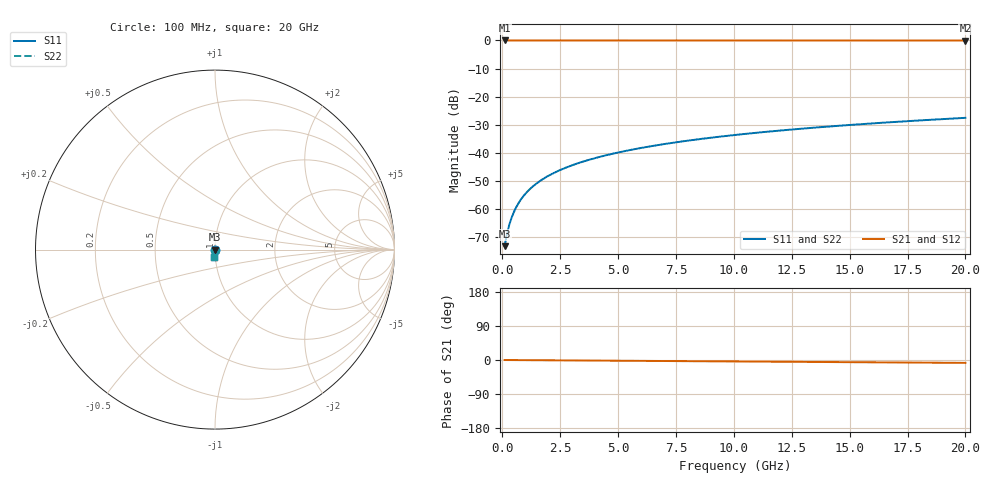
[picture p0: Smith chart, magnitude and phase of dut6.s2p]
! Touchstone file exported from HFSS 2026.1.0
!  File:  C:/ffzhzh/LocalFiles/Ansys_Project_Files/temp_train_TSV_6_1782957870_45748.aedt
!  Generated:  10:05:53 AM Jul  2, 2026
!  Design:  TSV
!  Project:  temp_train_TSV_6_1782957870_45748
! Variables:
!  h_bsmrdl = 2um
!  h_ox = 20um
!  h_rdl = 5um
!  h_sub = 76.67um
!  h_tmrdl = 5um
!  h_tsv = 76.67um
!  h_via = 3um
!  l_bsmrdl = 300um
!  l_sub = 418.04um
!  l_tmrdl = 200um
!  m_sub = 200um
!  pitch = 27.24um
!  r_tsv = 9.02um
!  s_tmrdl = 10um
!  w_bsmrdl = 18um
!  w_sub = 500um
!  w_tmrdl = 12um
!  x_tsv_center1 = 206um
!  x_tsv_center2 = 524um
!  x_tsv_center3 = 736um
!  x_tsv_center4 = 1054um
!  x_tsv_center5 = 1266um
!  x_tsv_center6 = 1584um
# GHz S MA R 50.000000
! Terminal data exported
! Port[1] = TSV1_1_T1
! Port[2] = TSV1_1_T2
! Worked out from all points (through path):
!   200 points, 100 MHz to 20 GHz, reference 50 ohm
!   highest |S21| = 0.00 dB at 100 MHz (marker M1); lowest = 0.0 dB at 20 GHz (marker M2)
!   group delay of S21, straight-line fit = 1.06 ps
!   lowest |S11| = -73.1 dB at 100 MHz (marker M3), VSWR 1.00, Z = 50 - j0.0158 ohm
!   |S11| at or under -10 dB: start of sweep to end of sweep
!   |S22| runs from -73.1 to -27.5 dB; largest |S21 - S12| = 2.3e-15
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0.1  0.0002213 -45.7  0.9998 -0.0  0.9998 -0.0  0.0002213 -45.7
! Gamma 0 0 0 0
! Port Impedance 50 0 50 0
0.2  0.0003637 -62.0  0.9998 -0.1  0.9998 -0.1  0.0003637 -62.0
0.3  0.0005284 -68.4  0.9998 -0.1  0.9998 -0.1  0.0005284 -68.4
0.4  0.0007058 -71.7  0.9998 -0.2  0.9998 -0.2  0.0007058 -71.7
0.5  0.0008924 -73.7  0.9997 -0.2  0.9997 -0.2  0.0008924 -73.7
0.6  0.001086 -75.2  0.9997 -0.2  0.9997 -0.2  0.001086 -75.2
0.8  0.001485 -77.4  0.9997 -0.3  0.9997 -0.3  0.001485 -77.4
1.1  0.002098 -79.8  0.9996 -0.4  0.9996 -0.4  0.002098 -79.8
1.3  0.00251 -80.9  0.9996 -0.5  0.9996 -0.5  0.00251 -80.9
1.5  0.002923 -81.9  0.9996 -0.6  0.9996 -0.6  0.002923 -81.9
1.8  0.003542 -83.0  0.9995 -0.7  0.9995 -0.7  0.003542 -83.0
2.1  0.004162 -83.9  0.9995 -0.8  0.9995 -0.8  0.004162 -83.9
2.7  0.005403 -85.1  0.9994 -1.0  0.9994 -1.0  0.005403 -85.1
3.5  0.007065 -86.3  0.9993 -1.4  0.9993 -1.4  0.007065 -86.3
4.2  0.008527 -87.0  0.9993 -1.6  0.9993 -1.6  0.008527 -87.0
5  0.01021 -87.7  0.9992 -1.9  0.9992 -1.9  0.01021 -87.7
6.8  0.01402 -89.0  0.999 -2.6  0.999 -2.6  0.01402 -89.0
8.3  0.01721 -89.9  0.9989 -3.2  0.9989 -3.2  0.01721 -89.9
10.1  0.02104 -90.9  0.9987 -3.9  0.9987 -3.9  0.02104 -90.9
13.4  0.02808 -92.6  0.9984 -5.1  0.9984 -5.1  0.02808 -92.6
16.7  0.03513 -94.1  0.998 -6.4  0.998 -6.4  0.03513 -94.1
20  0.04218 -95.5  0.9976 -7.6  0.9976 -7.6  0.04218 -95.5
